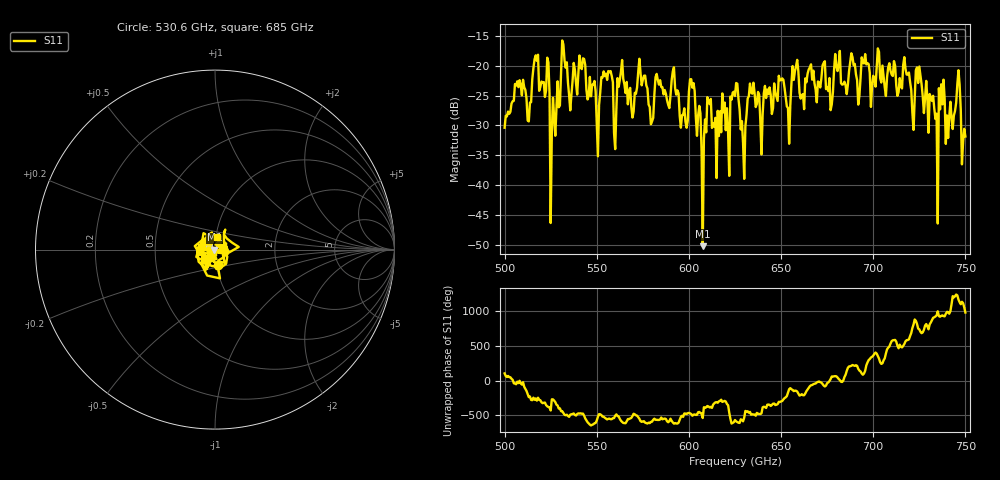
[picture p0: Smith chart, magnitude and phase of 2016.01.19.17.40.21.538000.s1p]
!Created with skrf (http://scikit-rf.org).
# GHz S RI R 50.0
!freq ReS11 ImS11
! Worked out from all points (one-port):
!   401 points, 500 GHz to 750 GHz, reference 50 ohm
!   lowest |S11| = -50.2 dB at 607.5 GHz (marker M1), VSWR 1.01, Z = 49.7 - j0.0059 ohm
!   |S11| at or under -10 dB: start of sweep to end of sweep
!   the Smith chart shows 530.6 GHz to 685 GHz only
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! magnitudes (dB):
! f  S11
! 500 GHz  -30.4
! 506.9 GHz  -22.6
! 513.1 GHz  -29.3
! 516.9 GHz  -18.3
! 523.1 GHz  -18.7
! 526.2 GHz  -25.3
! 531.2 GHz  -15.8
! 535.6 GHz  -27.5
! 541.9 GHz  -20.6
! 550.6 GHz  -35.2
! 556.2 GHz  -20.9
! 560.6 GHz  -27.4
! 562.5 GHz  -22.4
! 593.8 GHz  -24.1
! 601.9 GHz  -23.7
! 607.5 GHz  -50.2
! 610.6 GHz  -25.9
! 620.6 GHz  -27.1
! 625 GHz  -25.1
! 629.4 GHz  -32.9
! 633.8 GHz  -24.5
! 653.8 GHz  -27.1
! 656.2 GHz  -20.1
! 687.5 GHz  -19.4
! 718.8 GHz  -21.5
! 733.8 GHz  -28.9
! 746.2 GHz  -20.8
! 750 GHz  -31.8
